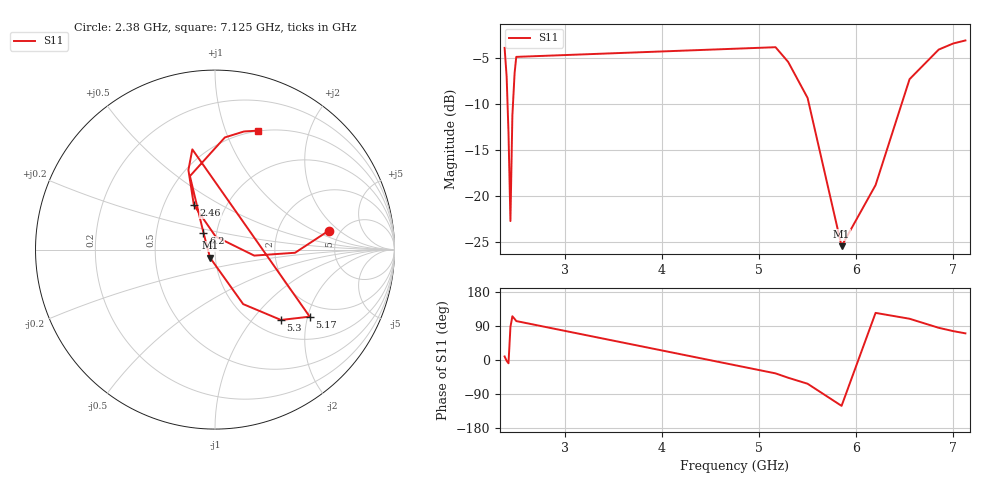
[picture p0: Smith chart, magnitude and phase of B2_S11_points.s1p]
! Generated by Hertzon (EMerge FEM)
# HZ S RI R 50
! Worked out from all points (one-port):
!   16 points, 2.38 GHz to 7.125 GHz, reference 50 ohm
!   lowest |S11| = -25.5 dB at 5.85 GHz (marker M1), VSWR 1.11, Z = 47.1 - j4.3 ohm
!   |S11| at or under -10 dB: 2.41 GHz to 2.466 GHz (55.82 MHz wide, 2.29 % of centre); 5.515 GHz to 6.468 GHz (952.9 MHz wide, 15.9 % of centre)
!   S11 on the Smith chart (normalised r, x): 2.38 GHz: 4.04, +1.43; 2.46 GHz: 0.71, +0.38; 5.17 GHz: 1.60, -2.06; 5.3 GHz: 1.28, -1.42; 6.2 GHz: 0.86, +0.17; 7.125 GHz: 0.49, +1.30
2.38e9  0.6326 0.1046
2.401e9  0.4461 -0.0175
2.42e9  0.2185 -0.0334
2.44e9  0.0036 0.0727
2.46e9  -0.1177 0.2477
2.483e9  -0.1481 0.4434
2.5e9  -0.1263 0.5585
5.17e9  0.5276 -0.3737
5.3e9  0.3676 -0.392
5.5e9  0.157 -0.3037
5.85e9  -0.0274 -0.0455
6.2e9  -0.0645 0.0945
6.55e9  -0.1397 0.4095
6.85e9  0.055 0.6251
7e9  0.1617 0.6582
7.125e9  0.2368 0.6627
